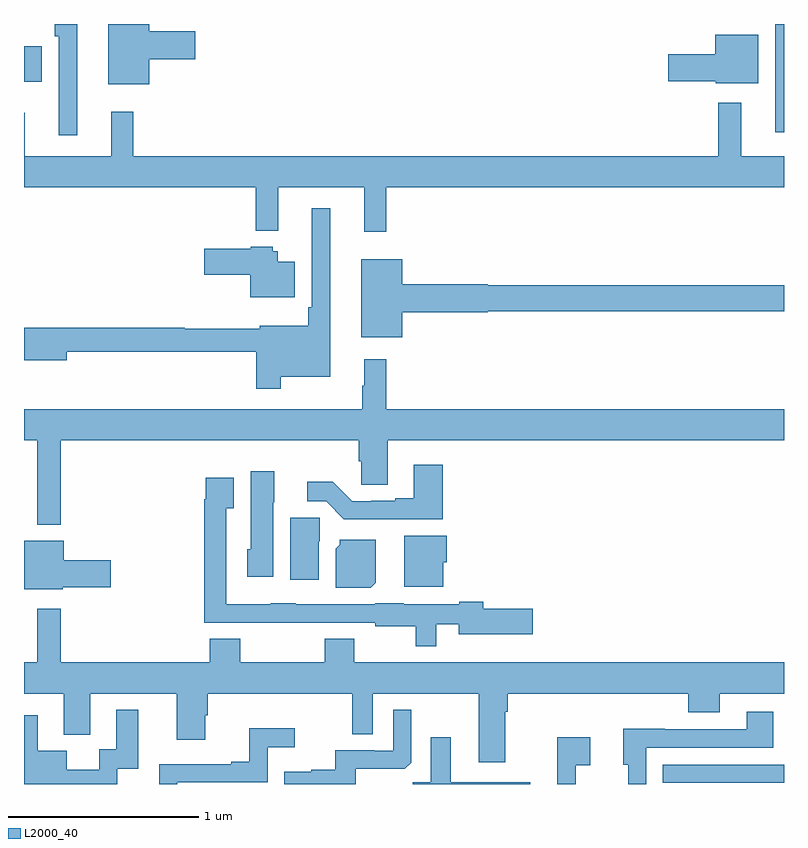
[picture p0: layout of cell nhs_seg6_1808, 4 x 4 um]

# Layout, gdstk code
import gdstk
lib = gdstk.Library(unit=1e-6, precision=1e-09)
def R(c, l, rs):  # rectangles x0, y0, x1, y1
    for r in rs: c.add(gdstk.rectangle(r[:2], r[2:], *l))
def P(c, l, *ps):  # polygons
    for p in ps: c.add(gdstk.Polygon(p, *l))
L2000_40 = (2000, 40)

nhs_seg6_1808 = lib.new_cell('nhs_seg6_1808')
R(nhs_seg6_1808, L2000_40, [(222.361,973.506,223,973.602), (222.953,976.929,223,977.5), (219,977.195,219.094,977.383)])
P(nhs_seg6_1808, L2000_40, [(219.28,977.5),(219.163,977.5),(219.163,977.435),(219.183,977.435),(219.183,976.914),(219.28,976.914)],
  [(219.658,977.315),(219.901,977.315),(219.901,977.462),(219.658,977.462),(219.658,977.5),(219.443,977.5),(219.443,977.183),(219.658,977.183)],
  [(222.865,977.443),(222.638,977.443),(222.638,977.342),(222.39,977.342),(222.39,977.2),(222.642,977.2),(222.642,977.189),(222.865,977.189)],
  [(220.907,976.64),(223,976.64),(223,976.804),(222.775,976.804),(222.775,977.086),(222.654,977.086),(222.654,976.804),(219.575,976.804),(219.575,977.038),(219.458,977.038),(219.458,976.804),(219.005,976.804),(219.005,977.032),(219,977.032),(219,976.64),(220.219,976.64),(220.219,976.412),(220.337,976.412),(220.337,976.64),(220.79,976.64),(220.79,976.407),(220.907,976.407)],
  [(220.351,975.644),(220.612,975.644),(220.612,976.531),(220.515,976.531),(220.515,976.009),(220.495,976.009),(220.495,975.913),(220.241,975.913),(220.241,975.895),(219.845,975.895),(219.845,975.902),(219,975.902),(219,975.731),(219.226,975.731),(219.226,975.774),(220.222,975.774),(220.222,975.579),(220.351,975.579)],
  [(220.426,976.249),(220.336,976.249),(220.336,976.305),(220.308,976.305),(220.308,976.327),(220.194,976.327),(220.194,976.317),(219.948,976.317),(219.948,976.18),(220.19,976.18),(220.19,976.061),(220.426,976.061)],
  [(220.99,975.983),(221.442,975.983),(221.442,975.988),(223,975.988),(223,976.124),(221.442,976.124),(221.442,976.13),(220.99,976.13),(220.99,976.261),(220.775,976.261),(220.775,975.851),(220.99,975.851)],
  [(219.193,975.308),(220.763,975.308),(220.763,975.198),(220.776,975.198),(220.776,975.076),(220.915,975.076),(220.915,975.308),(223,975.308),(223,975.472),(220.907,975.472),(220.907,975.736),(220.79,975.736),(220.79,975.596),(220.779,975.596),(220.779,975.472),(219,975.472),(219,975.308),(219.071,975.308),(219.071,974.864),(219.193,974.864)],
  [(221.204,975.181),(221.051,975.181),(221.051,975.004),(220.955,975.004),(220.955,974.991),(220.828,974.991),(220.828,974.988),(220.728,974.988),(220.626,975.091),(220.491,975.091),(220.491,974.988),(220.59,974.988),(220.684,974.894),(221.204,974.894)],
  [(220.312,974.982),(220.318,974.982),(220.318,975.145),(220.193,975.145),(220.193,974.736),(220.175,974.736),(220.175,974.592),(220.312,974.592)],
  [(221.169,974.342),(221.288,974.342),(221.288,974.288),(221.677,974.288),(221.677,974.423),(221.416,974.423),(221.416,974.459),(221.292,974.459),(221.292,974.446),(220.998,974.446),(220.998,974.452),(220.848,974.452),(220.848,974.445),(220.431,974.445),(220.431,974.452),(220.299,974.452),(220.299,974.446),(220.065,974.446),(220.065,974.951),(220.105,974.951),(220.105,975.112),(219.957,975.112),(219.957,974.999),(219.949,974.999),(219.949,974.349),(220.199,974.349),(220.199,974.348),(220.431,974.348),(220.431,974.349),(220.848,974.349),(220.848,974.33),(221.061,974.33),(221.061,974.225),(221.169,974.225)],
  [(220.552,974.778),(220.556,974.778),(220.556,974.901),(220.4,974.901),(220.4,974.574),(220.552,974.574)],
  [(221.206,974.667),(221.224,974.667),(221.224,974.806),(221,974.806),(221,974.537),(221.206,974.537)],
  [(220.852,974.56),(220.852,974.785),(220.662,974.785),(220.662,974.76),(220.64,974.738),(220.64,974.534),(220.826,974.534)],
  [(219.204,974.536),(219.457,974.536),(219.457,974.678),(219.208,974.678),(219.208,974.779),(219,974.779),(219,974.525),(219.204,974.525)],
  [(219.977,974.264),(219.977,974.14),(219.193,974.14),(219.193,974.422),(219.071,974.422),(219.071,974.14),(219,974.14),(219,973.976),(219.209,973.976),(219.209,973.76),(219.349,973.76),(219.349,973.976),(219.803,973.976),(219.803,973.734),(219.955,973.734),(219.955,973.863),(219.968,973.863),(219.968,973.976),(220.728,973.976),(220.728,973.762),(220.836,973.762),(220.836,973.976),(221.393,973.976),(221.393,973.614),(221.533,973.614),(221.533,973.88),(221.546,973.88),(221.546,973.976),(222.497,973.976),(222.497,973.877),(222.661,973.877),(222.661,973.976),(223,973.976),(223,974.14),(220.737,974.14),(220.737,974.264),(220.582,974.264),(220.582,974.14),(220.137,974.14),(220.137,974.264)],
  [(219.492,973.581),(219.601,973.581),(219.601,973.891),(219.485,973.891),(219.485,973.682),(219.395,973.682),(219.395,973.576),(219.226,973.576),(219.226,973.675),(219.073,973.675),(219.073,973.861),(219,973.861),(219,973.5),(219.492,973.5)],
  [(220.747,973.58),(221.005,973.58),(221.037,973.611),(221.037,973.891),(220.944,973.891),(220.944,973.674),(220.844,973.674),(220.844,973.677),(220.637,973.677),(220.637,973.576),(220.513,973.576),(220.513,973.564),(220.369,973.564),(220.369,973.5),(220.747,973.5)],
  [(222.276,973.692),(222.943,973.692),(222.943,973.879),(222.803,973.879),(222.803,973.788),(222.373,973.788),(222.373,973.79),(222.155,973.79),(222.155,973.602),(222.18,973.602),(222.18,973.5),(222.276,973.5)],
  [(219.807,973.509),(220.284,973.509),(220.284,973.694),(220.426,973.694),(220.426,973.793),(220.186,973.793),(220.186,973.618),(220.091,973.618),(220.091,973.605),(219.711,973.605),(219.711,973.5),(219.807,973.5)],
  [(221.904,973.598),(221.98,973.598),(221.98,973.747),(221.807,973.747),(221.807,973.5),(221.904,973.5)],
  [(221.665,973.51),(221.245,973.51),(221.245,973.747),(221.141,973.747),(221.141,973.508),(221.046,973.508),(221.046,973.5),(221.665,973.5)])

lib.write_gds('nhs_seg6_1808.gds')
